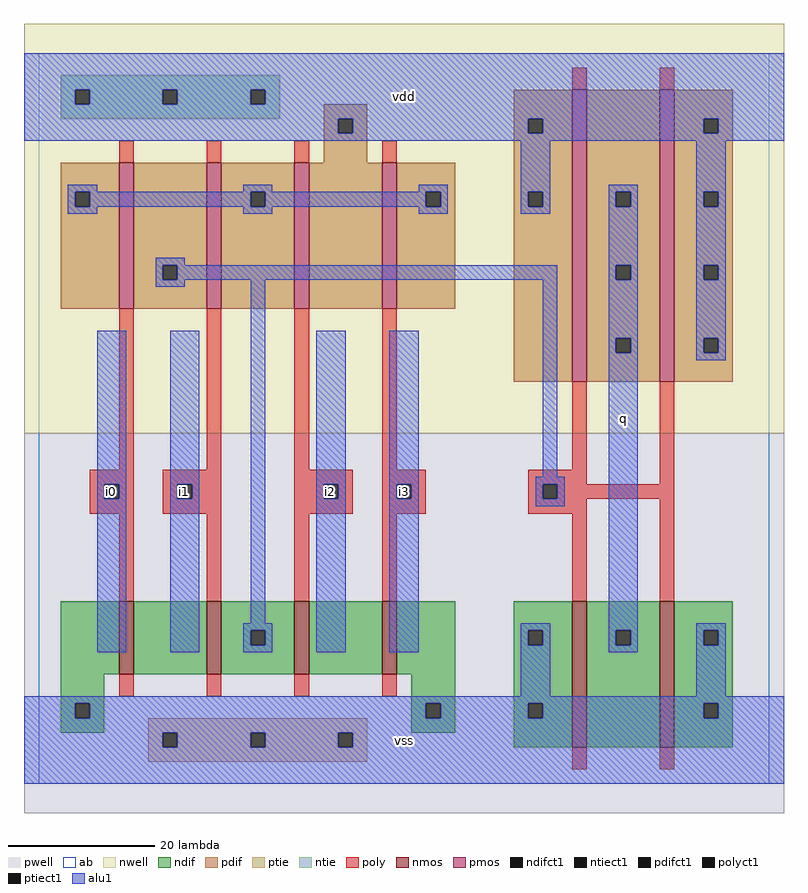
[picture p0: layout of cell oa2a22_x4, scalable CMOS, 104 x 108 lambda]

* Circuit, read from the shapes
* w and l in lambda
.subckt oa2a22_x4 i0 i1 i2 i3 q vdd vss
M1 n1 i0 vss vss nfet w=10 l=2
M2 n2 i1 n1 vss nfet w=10 l=2
M3 n3 i2 n2 vss nfet w=10 l=2
M4 vss i3 n3 vss nfet w=10 l=2
M5 q n2 vss vss nfet w=20 l=2 m=2
M6 n2 i0 n4 vdd pfet w=20 l=2
M7 n4 i1 n2 vdd pfet w=20 l=2
M8 vdd i2 n4 vdd pfet w=20 l=2
M9 n4 i3 vdd vdd pfet w=20 l=2
M10 q n2 vdd vdd pfet w=40 l=2 m=2
.ends

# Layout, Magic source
magic
tech scmos
<< ab >>
rect 0 0 100 100
<< nwell >>
rect -2 48 102 104
<< pwell >>
rect -2 -4 102 48
<< poly >>
rect 73 95 75 98
rect 85 95 87 98
rect 11 85 13 88
rect 23 85 25 88
rect 35 85 37 88
rect 47 85 49 88
rect 11 43 13 65
rect 23 43 25 65
rect 7 41 13 43
rect 7 39 9 41
rect 11 39 13 41
rect 7 37 13 39
rect 17 41 25 43
rect 17 39 19 41
rect 21 39 25 41
rect 17 37 25 39
rect 11 25 13 37
rect 23 25 25 37
rect 35 43 37 65
rect 47 43 49 65
rect 73 43 75 55
rect 35 41 43 43
rect 35 39 39 41
rect 41 39 43 41
rect 35 37 43 39
rect 47 41 53 43
rect 47 39 49 41
rect 51 39 53 41
rect 47 37 53 39
rect 67 41 75 43
rect 85 41 87 55
rect 67 39 69 41
rect 71 39 87 41
rect 67 37 75 39
rect 35 25 37 37
rect 47 25 49 37
rect 73 25 75 37
rect 85 25 87 39
rect 11 12 13 15
rect 23 12 25 15
rect 35 12 37 15
rect 47 12 49 15
rect 73 2 75 5
rect 85 2 87 5
<< ndif >>
rect 3 15 11 25
rect 13 15 23 25
rect 25 21 35 25
rect 25 19 29 21
rect 31 19 35 21
rect 25 15 35 19
rect 37 15 47 25
rect 49 15 57 25
rect 3 11 9 15
rect 3 9 5 11
rect 7 9 9 11
rect 51 11 57 15
rect 51 9 53 11
rect 55 9 57 11
rect 3 7 9 9
rect 51 7 57 9
rect 65 21 73 25
rect 65 19 67 21
rect 69 19 73 21
rect 65 11 73 19
rect 65 9 67 11
rect 69 9 73 11
rect 65 5 73 9
rect 75 21 85 25
rect 75 19 79 21
rect 81 19 85 21
rect 75 5 85 19
rect 87 21 95 25
rect 87 19 91 21
rect 93 19 95 21
rect 87 11 95 19
rect 87 9 91 11
rect 93 9 95 11
rect 87 5 95 9
<< pdif >>
rect 39 91 45 93
rect 39 89 41 91
rect 43 89 45 91
rect 39 85 45 89
rect 65 91 73 95
rect 65 89 67 91
rect 69 89 73 91
rect 3 81 11 85
rect 3 79 5 81
rect 7 79 11 81
rect 3 65 11 79
rect 13 71 23 85
rect 13 69 17 71
rect 19 69 23 71
rect 13 65 23 69
rect 25 81 35 85
rect 25 79 29 81
rect 31 79 35 81
rect 25 65 35 79
rect 37 65 47 85
rect 49 81 57 85
rect 49 79 53 81
rect 55 79 57 81
rect 49 65 57 79
rect 65 81 73 89
rect 65 79 67 81
rect 69 79 73 81
rect 65 55 73 79
rect 75 81 85 95
rect 75 79 79 81
rect 81 79 85 81
rect 75 71 85 79
rect 75 69 79 71
rect 81 69 85 71
rect 75 61 85 69
rect 75 59 79 61
rect 81 59 85 61
rect 75 55 85 59
rect 87 91 95 95
rect 87 89 91 91
rect 93 89 95 91
rect 87 81 95 89
rect 87 79 91 81
rect 93 79 95 81
rect 87 71 95 79
rect 87 69 91 71
rect 93 69 95 71
rect 87 61 95 69
rect 87 59 91 61
rect 93 59 95 61
rect 87 55 95 59
<< alu1 >>
rect -2 95 102 100
rect -2 93 5 95
rect 7 93 17 95
rect 19 93 29 95
rect 31 93 102 95
rect -2 91 102 93
rect -2 89 41 91
rect 43 89 67 91
rect 69 89 91 91
rect 93 89 102 91
rect -2 88 102 89
rect 4 81 8 82
rect 28 81 32 82
rect 52 81 56 82
rect 4 79 5 81
rect 7 79 29 81
rect 31 79 53 81
rect 55 79 56 81
rect 4 78 8 79
rect 28 78 32 79
rect 52 78 56 79
rect 66 81 70 88
rect 66 79 67 81
rect 69 79 70 81
rect 66 78 70 79
rect 78 81 82 82
rect 78 79 79 81
rect 81 79 82 81
rect 16 71 20 72
rect 78 71 82 79
rect 16 69 17 71
rect 19 69 71 71
rect 16 68 20 69
rect 8 41 12 62
rect 8 39 9 41
rect 11 39 12 41
rect 8 18 12 39
rect 18 41 22 62
rect 18 39 19 41
rect 21 39 22 41
rect 18 18 22 39
rect 29 22 31 69
rect 38 41 42 62
rect 38 39 39 41
rect 41 39 42 41
rect 28 21 32 22
rect 28 19 29 21
rect 31 19 32 21
rect 28 18 32 19
rect 38 18 42 39
rect 48 41 52 62
rect 69 42 71 69
rect 78 69 79 71
rect 81 69 82 71
rect 78 61 82 69
rect 78 59 79 61
rect 81 59 82 61
rect 48 39 49 41
rect 51 39 52 41
rect 48 18 52 39
rect 68 41 72 42
rect 68 39 69 41
rect 71 39 72 41
rect 68 38 72 39
rect 66 21 70 22
rect 66 19 67 21
rect 69 19 70 21
rect 66 12 70 19
rect 78 21 82 59
rect 90 81 94 88
rect 90 79 91 81
rect 93 79 94 81
rect 90 71 94 79
rect 90 69 91 71
rect 93 69 94 71
rect 90 61 94 69
rect 90 59 91 61
rect 93 59 94 61
rect 90 58 94 59
rect 78 19 79 21
rect 81 19 82 21
rect 78 18 82 19
rect 90 21 94 22
rect 90 19 91 21
rect 93 19 94 21
rect 90 12 94 19
rect -2 11 102 12
rect -2 9 5 11
rect 7 9 53 11
rect 55 9 67 11
rect 69 9 91 11
rect 93 9 102 11
rect -2 7 102 9
rect -2 5 17 7
rect 19 5 29 7
rect 31 5 41 7
rect 43 5 102 7
rect -2 0 102 5
<< ptie >>
rect 15 7 45 9
rect 15 5 17 7
rect 19 5 29 7
rect 31 5 41 7
rect 43 5 45 7
rect 15 3 45 5
<< ntie >>
rect 3 95 33 97
rect 3 93 5 95
rect 7 93 17 95
rect 19 93 29 95
rect 31 93 33 95
rect 3 91 33 93
<< nmos >>
rect 11 15 13 25
rect 23 15 25 25
rect 35 15 37 25
rect 47 15 49 25
rect 73 5 75 25
rect 85 5 87 25
<< pmos >>
rect 11 65 13 85
rect 23 65 25 85
rect 35 65 37 85
rect 47 65 49 85
rect 73 55 75 95
rect 85 55 87 95
<< polyct1 >>
rect 9 39 11 41
rect 19 39 21 41
rect 39 39 41 41
rect 49 39 51 41
rect 69 39 71 41
<< ndifct1 >>
rect 29 19 31 21
rect 5 9 7 11
rect 53 9 55 11
rect 67 19 69 21
rect 67 9 69 11
rect 79 19 81 21
rect 91 19 93 21
rect 91 9 93 11
<< ntiect1 >>
rect 5 93 7 95
rect 17 93 19 95
rect 29 93 31 95
<< ptiect1 >>
rect 17 5 19 7
rect 29 5 31 7
rect 41 5 43 7
<< pdifct1 >>
rect 41 89 43 91
rect 67 89 69 91
rect 5 79 7 81
rect 17 69 19 71
rect 29 79 31 81
rect 53 79 55 81
rect 67 79 69 81
rect 79 79 81 81
rect 79 69 81 71
rect 79 59 81 61
rect 91 89 93 91
rect 91 79 93 81
rect 91 69 93 71
rect 91 59 93 61
<< labels >>
rlabel polyct1 20 40 20 40 6 i1
rlabel polyct1 10 40 10 40 6 i0
rlabel polyct1 40 40 40 40 6 i2
rlabel alu1 50 6 50 6 6 vss
rlabel polyct1 50 40 50 40 6 i3
rlabel alu1 50 94 50 94 6 vdd
rlabel alu1 80 50 80 50 6 q
<< end >>
